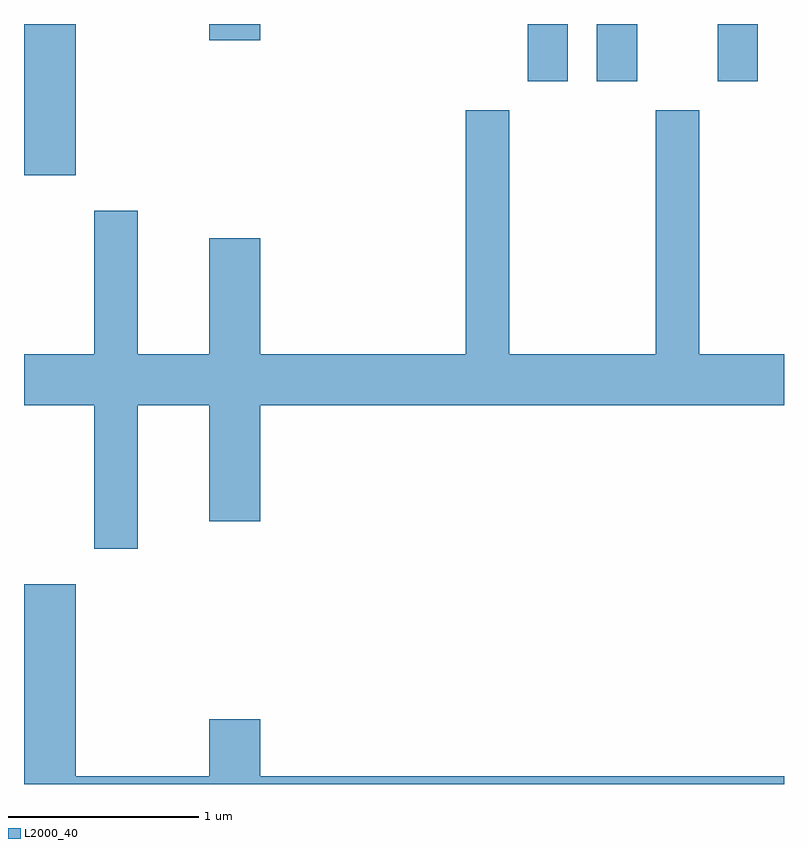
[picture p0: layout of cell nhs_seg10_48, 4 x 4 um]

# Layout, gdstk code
import gdstk
lib = gdstk.Library(unit=1e-6, precision=1e-09)
def R(c, l, rs):  # rectangles x0, y0, x1, y1
    for r in rs: c.add(gdstk.rectangle(r[:2], r[2:], *l))
def P(c, l, *ps):  # polygons
    for p in ps: c.add(gdstk.Polygon(p, *l))
L2000_40 = (2000, 40)

nhs_seg10_48 = lib.new_cell('nhs_seg10_48')
R(nhs_seg10_48, L2000_40, [(185.611,2181.726,185.884,2182.522), (188.261,2182.221,188.474,2182.522), (188.626,2182.221,188.839,2182.522), (189.261,2182.221,189.474,2182.522), (186.586,2182.436,186.854,2182.522)])
P(nhs_seg10_48, L2000_40, [(186.209,2180.516),(186.586,2180.516),(186.586,2179.906),(186.854,2179.906),(186.854,2180.516),(189.611,2180.516),(189.611,2180.784),(189.164,2180.784),(189.164,2182.069),(188.936,2182.069),(188.936,2180.784),(188.164,2180.784),(188.164,2182.069),(187.936,2182.069),(187.936,2180.784),(186.854,2180.784),(186.854,2181.394),(186.586,2181.394),(186.586,2180.784),(186.209,2180.784),(186.209,2181.539),(185.981,2181.539),(185.981,2180.784),(185.611,2180.784),(185.611,2180.516),(185.981,2180.516),(185.981,2179.761),(186.209,2179.761)],
  [(189.611,2178.564),(186.854,2178.564),(186.854,2178.864),(186.586,2178.864),(186.586,2178.564),(185.884,2178.564),(185.884,2179.574),(185.611,2179.574),(185.611,2178.522),(189.611,2178.522)])

lib.write_gds('nhs_seg10_48.gds')
